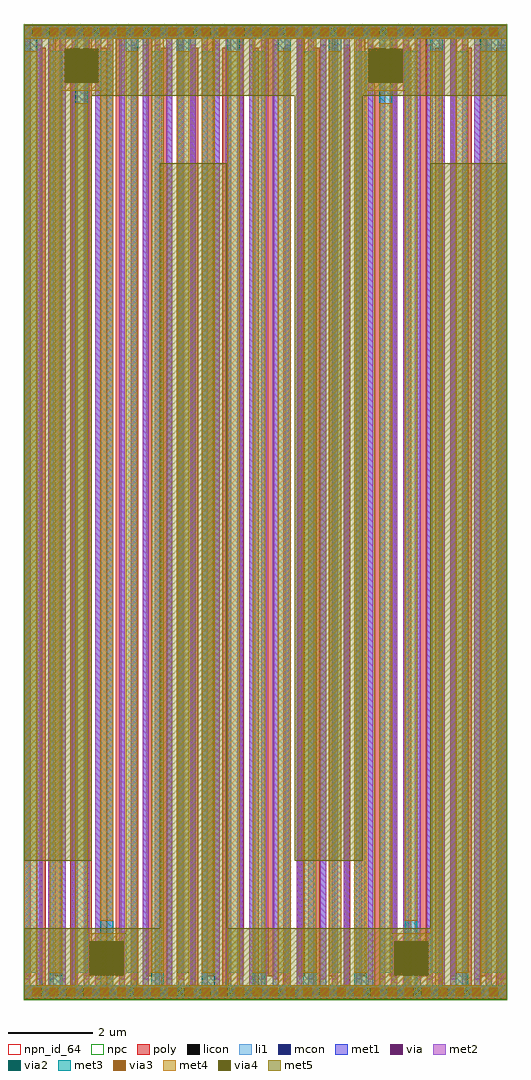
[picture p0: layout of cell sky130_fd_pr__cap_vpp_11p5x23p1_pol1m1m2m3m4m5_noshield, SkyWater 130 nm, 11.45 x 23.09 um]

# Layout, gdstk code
import gdstk
lib = gdstk.Library(unit=1e-6, precision=1e-09)
def R(c, l, rs):  # rectangles x0, y0, x1, y1
    for r in rs: c.add(gdstk.rectangle(r[:2], r[2:], *l))
def A(c, l, x, y, w, h, nx, ny, dx, dy):  # array of equal rectangles
    R(c, l, [(x+i*dx, y+j*dy, x+i*dx+w, y+j*dy+h) for i in range(nx) for j in range(ny)])
poly = (66, 20)
licon = (66, 44)
li1 = (67, 20)
mcon = (67, 44)
met1 = (68, 20)
via = (68, 44)
met2 = (69, 20)
via2 = (69, 44)
met3 = (70, 20)
via3 = (70, 44)
met4 = (71, 20)
via4 = (71, 44)
met5 = (72, 20)
npn_id_64 = (82, 64)
npc = (95, 20)

sky130_fd_pr__cap_vpp_11 = lib.new_cell('sky130_fd_pr__cap_vpp_11p5x23p1_pol1m1m2m3m4m5_noshield')
A(sky130_fd_pr__cap_vpp_11, poly, 0.36, 0.33, 0.15, 22.18, 15, 1, 0.72, 0)
A(sky130_fd_pr__cap_vpp_11, poly, 0, 0.54, 0.15, 22.18, 16, 1, 0.72, 0)
R(sky130_fd_pr__cap_vpp_11, poly, [(0,0,11.41,0.33), (11.16,0.33,11.41,22.51), (0,22.72,11.41,23.05)])
A(sky130_fd_pr__cap_vpp_11, licon, 0.17, 0.08, 0.17, 0.17, 33, 2, 0.34, 22.72)
A(sky130_fd_pr__cap_vpp_11, li1, 0, 0.33, 0.14, 22.25, 20, 1, 0.56, 0)
A(sky130_fd_pr__cap_vpp_11, li1, 0.28, 0.47, 0.14, 22.25, 20, 1, 0.56, 0)
R(sky130_fd_pr__cap_vpp_11, li1, [(0,0,11.41,0.33), (11.2,0.33,11.41,22.58), (0,22.72,11.41,23.05)])
A(sky130_fd_pr__cap_vpp_11, mcon, 0.19, 0.08, 0.17, 0.17, 31, 2, 0.36, 22.72)
A(sky130_fd_pr__cap_vpp_11, met1, 0.28, 0.33, 0.14, 22.25, 20, 1, 0.56, 0)
A(sky130_fd_pr__cap_vpp_11, met1, 0, 0.47, 0.14, 22.25, 20, 1, 0.56, 0)
R(sky130_fd_pr__cap_vpp_11, met1, [(0,0,11.41,0.33), (11.2,0.47,11.41,22.72), (0,22.72,11.41,23.05)])
R(sky130_fd_pr__cap_vpp_11, via, [(0.175,0.09,0.325,0.24), (0.495,0.09,0.645,0.24), (1.235,0.09,1.385,0.24), (1.555,0.09,1.705,0.24), (2.355,0.09,2.505,0.24), (2.675,0.09,2.825,0.24), (3.475,0.09,3.625,0.24), (3.795,0.09,3.945,0.24), (4.595,0.09,4.745,0.24), (4.915,0.09,5.065,0.24), (5.715,0.09,5.865,0.24), (6.035,0.09,6.185,0.24), (6.835,0.09,6.985,0.24), (7.155,0.09,7.305,0.24), (7.955,0.09,8.105,0.24), (8.275,0.09,8.425,0.24), (9.075,0.09,9.225,0.24), (9.395,0.09,9.545,0.24), (10.195,0.09,10.345,0.24), (10.515,0.09,10.665,0.24), (0.395,22.81,0.545,22.96), (0.715,22.81,0.865,22.96), (1.515,22.81,1.665,22.96), (1.835,22.81,1.985,22.96), (2.635,22.81,2.785,22.96), (2.955,22.81,3.105,22.96), (3.755,22.81,3.905,22.96), (4.075,22.81,4.225,22.96), (4.875,22.81,5.025,22.96), (5.195,22.81,5.345,22.96), (5.995,22.81,6.145,22.96), (6.315,22.81,6.465,22.96), (7.115,22.81,7.265,22.96), (7.435,22.81,7.585,22.96), (8.235,22.81,8.385,22.96), (8.555,22.81,8.705,22.96), (9.355,22.81,9.505,22.96), (9.675,22.81,9.825,22.96), (10.475,22.81,10.625,22.96), (10.795,22.81,10.945,22.96)])
A(sky130_fd_pr__cap_vpp_11, met2, 0, 0, 0.7, 0.33, 9, 1, 1.12, 0)
A(sky130_fd_pr__cap_vpp_11, met2, 0.84, 0, 0.14, 0.47, 9, 1, 1.12, 0)
A(sky130_fd_pr__cap_vpp_11, met2, 0, 0.33, 0.14, 22.25, 20, 1, 0.56, 0)
A(sky130_fd_pr__cap_vpp_11, met2, 0.28, 0.47, 0.14, 22.25, 20, 1, 0.56, 0)
A(sky130_fd_pr__cap_vpp_11, met2, 0, 22.58, 0.14, 0.47, 9, 1, 1.12, 0)
A(sky130_fd_pr__cap_vpp_11, met2, 0.28, 22.72, 0.7, 0.33, 9, 1, 1.12, 0)
R(sky130_fd_pr__cap_vpp_11, met2, [(10.08,0,11.41,0.33), (11.2,0.33,11.41,22.58), (9.94,22.72,11.41,23.05)])
A(sky130_fd_pr__cap_vpp_11, via2, 0.25, 0.065, 0.2, 0.2, 10, 1, 1.12, 0)
A(sky130_fd_pr__cap_vpp_11, via2, 0.53, 22.785, 0.2, 0.2, 10, 1, 1.12, 0)
A(sky130_fd_pr__cap_vpp_11, met3, 0.6, 0.33, 0.3, 22.09, 9, 1, 1.2, 0)
A(sky130_fd_pr__cap_vpp_11, met3, 0, 0.63, 0.3, 22.09, 9, 1, 1.2, 0)
R(sky130_fd_pr__cap_vpp_11, met3, [(0,0,11.41,0.33), (10.8,0.63,11.41,22.72), (0,22.72,11.41,23.05)])
A(sky130_fd_pr__cap_vpp_11, via3, 0.2, 0.065, 0.2, 0.2, 28, 2, 0.4, 22.72)
A(sky130_fd_pr__cap_vpp_11, met4, 2.4, 0.33, 0.3, 22.09, 5, 1, 1.2, 0)
A(sky130_fd_pr__cap_vpp_11, met4, 3, 0.63, 0.3, 22.09, 5, 1, 1.2, 0)
R(sky130_fd_pr__cap_vpp_11, met4, [(0,0,11.41,0.33), (0,0.33,0.3,22.42), (1.2,0.33,1.5,21.195), (1.5,0.33,2.4,0.375), (8.4,0.33,8.7,21.195), (8.7,0.33,9.6,0.375), (9.6,0.33,9.9,22.42), (10.8,0.33,11.41,22.42), (1.36,0.375,2.54,1.555), (8.56,0.375,9.74,1.555), (0.6,0.63,0.9,22.72), (10.2,0.63,10.5,22.72), (1.8,1.855,2.1,22.72), (9,1.855,9.3,22.72), (0.76,21.495,1.94,22.675), (7.96,21.495,9.14,22.675), (0.9,22.675,1.8,22.72), (8.1,22.675,9,22.72), (0,22.72,11.41,23.05)])
R(sky130_fd_pr__cap_vpp_11, via4, [(1.55,0.565,2.35,1.365), (8.75,0.565,9.55,1.365), (0.95,21.685,1.75,22.485), (8.15,21.685,8.95,22.485)])
R(sky130_fd_pr__cap_vpp_11, met5, [(0,0,11.41,1.675), (1.24,0.255,2.66,1.675), (8.44,0.255,9.86,1.675), (3.2,1.675,4.8,19.775), (9.6,1.675,11.41,19.775), (0,3.275,1.6,21.375), (6.4,3.275,8,21.375), (0,21.375,11.41,23.05), (0.64,21.375,2.06,22.795), (7.84,21.375,9.26,22.795)])
R(sky130_fd_pr__cap_vpp_11, npn_id_64, [(0.13,0.21,11.3,22.84)])
R(sky130_fd_pr__cap_vpp_11, npc, [(-0.02,-0.02,11.43,23.07)])

lib.write_gds('sky130_fd_pr__cap_vpp_11p5x23p1_pol1m1m2m3m4m5_noshield.gds')
